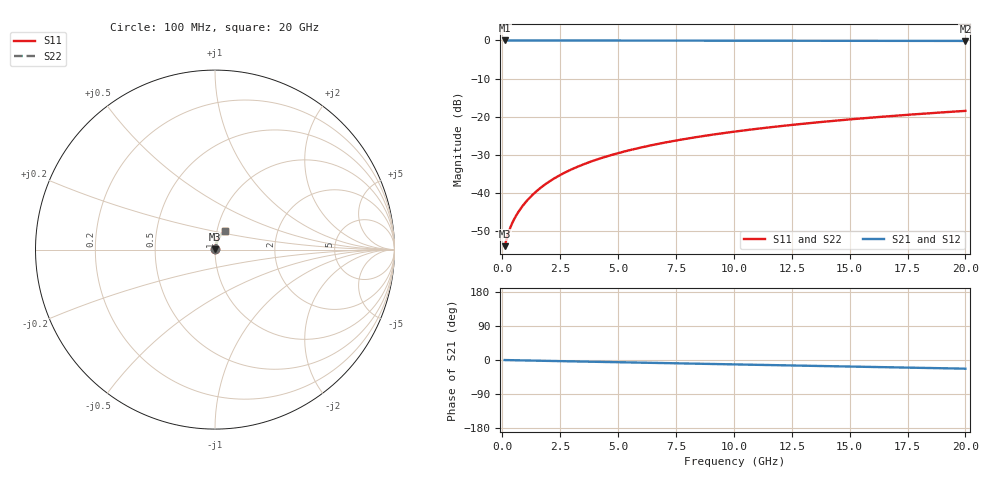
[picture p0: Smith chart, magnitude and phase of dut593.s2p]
! Touchstone file exported from HFSS 2026.1.0
!  File:  C:/ffzhzh/LocalFiles/Ansys_Project_Files/temp_train_BSMRDL_593_1783015905_55676.aedt
!  Generated:  02:13:04 AM Jul  3, 2026
!  Design:  BSMRDL
!  Project:  temp_train_BSMRDL_593_1783015905_55676
! Variables:
!  h_bsmrdl = 3.68um
!  h_ox = 20um
!  h_rdl = 5um
!  h_sub = 80um
!  h_tmrdl = 5um
!  h_tsv = 80um
!  h_via = 3um
!  l_bsmrdl = 372.38um
!  l_sub = 772.38um
!  l_tmrdl = 200um
!  m_sub = 200um
!  pitch = 33.13um
!  r_tsv = 6um
!  s_tmrdl = 10um
!  w_bsmrdl = 23.19um
!  w_sub = 500um
!  w_tmrdl = 12um
!  x_tsv_center1 = 206um
!  x_tsv_center2 = 601.57um
!  x_tsv_center3 = 813.57um
!  x_tsv_center4 = 1209.14um
!  x_tsv_center5 = 1421.14um
!  x_tsv_center6 = 1816.71um
# GHz S MA R 50.000000
! Terminal data exported
! Port[1] = BSM_RDL1_1_T1
! Port[2] = BSM_RDL1_1_T2
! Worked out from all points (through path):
!   200 points, 100 MHz to 20 GHz, reference 50 ohm
!   highest |S21| = -0.02 dB at 100 MHz (marker M1); lowest = -0.1 dB at 20 GHz (marker M2)
!   group delay of S21, straight-line fit = 3.17 ps
!   lowest |S11| = -54.0 dB at 100 MHz (marker M3), VSWR 1.00, Z = 50.2 + j0.0896 ohm
!   |S11| at or under -10 dB: start of sweep to end of sweep
!   |S22| runs from -54.0 to -18.5 dB; largest |S21 - S12| = 3.5e-15
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0.1  0.001999 26.5  0.9982 -0.1  0.9982 -0.1  0.001999 26.5
! Gamma 0 0 0 0
! Port Impedance 50 0 50 0
0.2  0.002582 41.5  0.9981 -0.3  0.9981 -0.3  0.002582 41.5
0.3  0.00322 49.4  0.9979 -0.4  0.9979 -0.4  0.00322 49.4
0.4  0.003842 54.4  0.9978 -0.5  0.9978 -0.5  0.003841 54.4
0.5  0.004448 58.1  0.9977 -0.6  0.9977 -0.6  0.004447 58.1
0.6  0.005048 61.0  0.9976 -0.7  0.9976 -0.7  0.005047 61.0
0.8  0.006257 65.5  0.9975 -1.0  0.9975 -1.0  0.006255 65.5
1  0.007489 68.7  0.9974 -1.2  0.9974 -1.2  0.007488 68.7
1.2  0.008744 71.0  0.9974 -1.4  0.9974 -1.4  0.008743 71.0
1.7  0.01195 74.6  0.9972 -2.0  0.9972 -2.0  0.01194 74.6
2.2  0.01519 76.3  0.997 -2.6  0.997 -2.6  0.01519 76.3
2.8  0.01909 77.3  0.9967 -3.3  0.9967 -3.3  0.01909 77.3
3.5  0.02362 77.6  0.9964 -4.1  0.9964 -4.1  0.02362 77.6
4.2  0.02811 77.5  0.9959 -4.9  0.9959 -4.9  0.02811 77.5
5  0.03318 77.1  0.9954 -5.9  0.9954 -5.9  0.03318 77.1
5.9  0.0388 76.5  0.9948 -6.9  0.9948 -6.9  0.0388 76.5
6.8  0.04433 75.7  0.9941 -8.0  0.9941 -8.0  0.04433 75.7
8.3  0.05338 74.3  0.993 -9.7  0.993 -9.7  0.05338 74.4
10.1  0.06401 72.6  0.9917 -11.7  0.9917 -11.7  0.064 72.7
13.4  0.08295 69.4  0.9892 -15.5  0.9892 -15.5  0.08294 69.4
16.7  0.1013 66.1  0.9865 -19.2  0.9865 -19.2  0.1013 66.2
20  0.119 62.8  0.9838 -22.9  0.9838 -22.9  0.119 62.8
